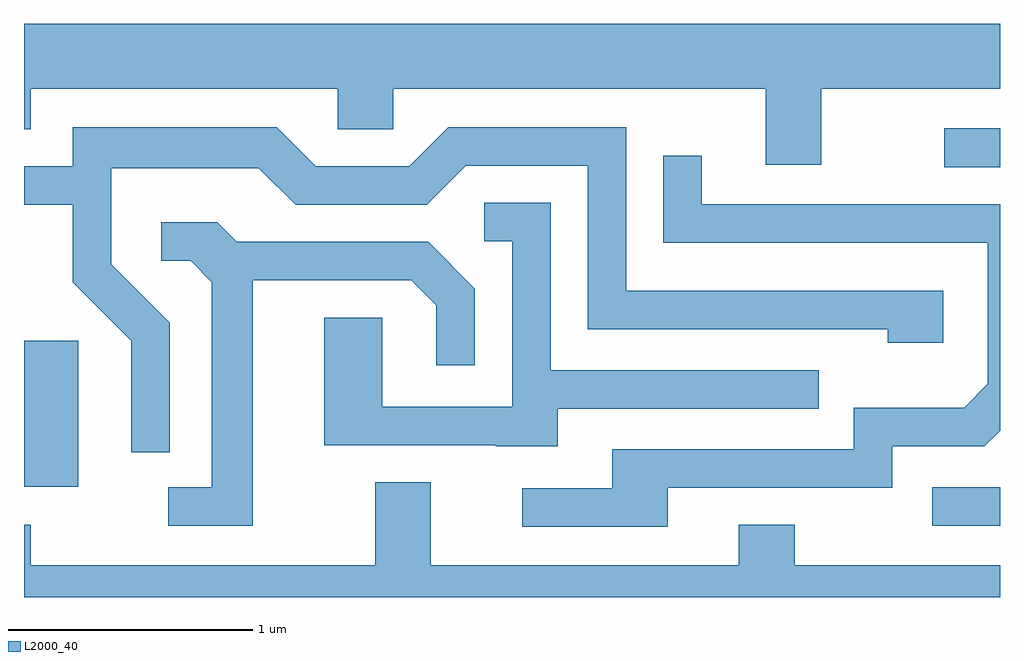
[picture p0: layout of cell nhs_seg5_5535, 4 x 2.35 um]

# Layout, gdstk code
import gdstk
lib = gdstk.Library(unit=1e-6, precision=1e-09)
def R(c, l, rs):  # rectangles x0, y0, x1, y1
    for r in rs: c.add(gdstk.rectangle(r[:2], r[2:], *l))
def P(c, l, *ps):  # polygons
    for p in ps: c.add(gdstk.Polygon(p, *l))
L2000_40 = (2000, 40)

nhs_seg5_5535 = lib.new_cell('nhs_seg5_5535')
R(nhs_seg5_5535, L2000_40, [(353.333,1428.366,353.611,1428.524), (349.611,1428.526,349.834,1429.124), (353.383,1429.836,353.611,1429.994)])
P(nhs_seg5_5535, L2000_40, [(352.879,1430.156),(353.611,1430.156),(353.611,1430.424),(349.611,1430.424),(349.611,1429.991),(349.639,1429.991),(349.639,1430.156),(350.896,1430.156),(350.896,1429.991),(351.124,1429.991),(351.124,1430.156),(352.651,1430.156),(352.651,1429.846),(352.879,1429.846)],
  [(350.209,1429.197),(349.969,1429.437),(349.969,1429.831),(350.574,1429.831),(350.724,1429.681),(351.262,1429.681),(351.422,1429.841),(351.921,1429.841),(351.921,1429.171),(353.151,1429.171),(353.151,1429.116),(353.379,1429.116),(353.379,1429.329),(352.079,1429.329),(352.079,1429.999),(351.349,1429.999),(351.189,1429.839),(350.807,1429.839),(350.647,1429.999),(349.811,1429.999),(349.811,1429.839),(349.611,1429.839),(349.611,1429.681),(349.811,1429.681),(349.811,1429.364),(350.051,1429.124),(350.051,1428.668),(350.209,1428.668)],
  [(352.249,1428.521),(353.169,1428.521),(353.169,1428.691),(353.547,1428.691),(353.611,1428.755),(353.611,1429.684),(352.389,1429.684),(352.389,1429.883),(352.231,1429.883),(352.231,1429.526),(353.561,1429.526),(353.561,1428.947),(353.464,1428.849),(353.011,1428.849),(353.011,1428.679),(352.021,1428.679),(352.021,1428.519),(351.653,1428.519),(351.653,1428.361),(352.249,1428.361)],
  [(351.799,1428.846),(352.868,1428.846),(352.868,1429.004),(351.769,1429.004),(351.769,1429.689),(351.498,1429.689),(351.498,1429.531),(351.611,1429.531),(351.611,1428.854),(351.079,1428.854),(351.079,1429.219),(350.841,1429.219),(350.841,1428.696),(351.545,1428.696),(351.545,1428.691),(351.799,1428.691)],
  [(350.549,1429.371),(351.199,1429.371),(351.301,1429.269),(351.301,1429.023),(351.459,1429.023),(351.459,1429.337),(351.267,1429.529),(350.482,1429.529),(350.402,1429.609),(350.173,1429.609),(350.173,1429.451),(350.294,1429.451),(350.381,1429.364),(350.381,1428.524),(350.203,1428.524),(350.203,1428.366),(350.549,1428.366)],
  [(353.611,1428.204),(352.769,1428.204),(352.769,1428.369),(352.541,1428.369),(352.541,1428.204),(351.279,1428.204),(351.279,1428.544),(351.051,1428.544),(351.051,1428.204),(349.639,1428.204),(349.639,1428.369),(349.611,1428.369),(349.611,1428.072),(353.611,1428.072)])

lib.write_gds('nhs_seg5_5535.gds')
